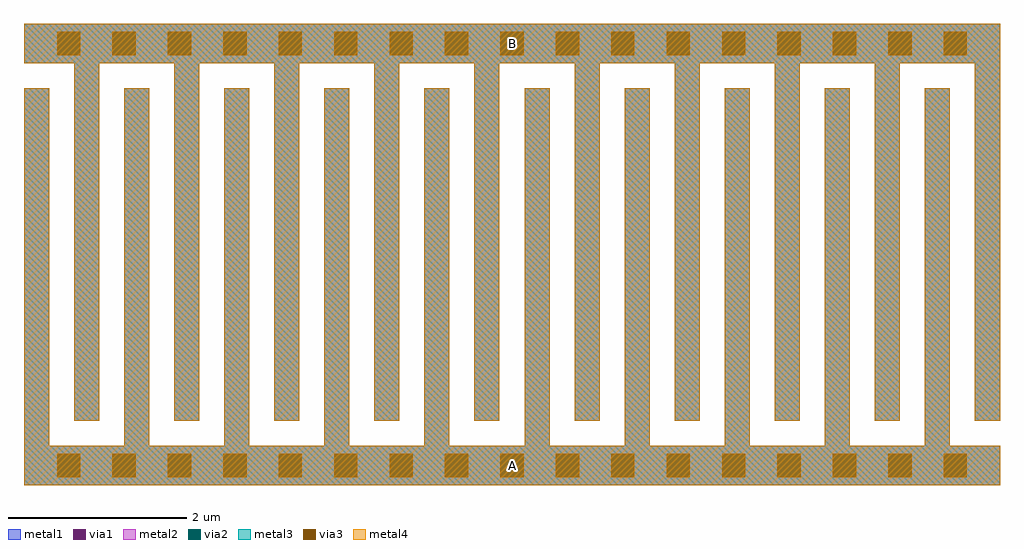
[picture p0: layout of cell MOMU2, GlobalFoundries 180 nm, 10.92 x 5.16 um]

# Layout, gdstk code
import gdstk
lib = gdstk.Library(unit=1e-6, precision=1e-09)
def R(c, l, rs):  # rectangles x0, y0, x1, y1
    for r in rs: c.add(gdstk.rectangle(r[:2], r[2:], *l))
def A(c, l, x, y, w, h, nx, ny, dx, dy):  # array of equal rectangles
    R(c, l, [(x+i*dx, y+j*dy, x+i*dx+w, y+j*dy+h) for i in range(nx) for j in range(ny)])
metal1 = (34, 0)
via1 = (35, 0)
metal2 = (36, 0)
via2 = (38, 0)
via3 = (40, 0)
metal3 = (42, 0)
metal4 = (46, 0)

momu2 = lib.new_cell('MOMU2')
A(momu2, metal1, 0, 0.44, 0.28, 4, 10, 1, 1.12, 0)
A(momu2, metal1, 0.56, 0.72, 0.28, 4, 10, 1, 1.12, 0)
R(momu2, metal1, [(0,0,10.92,0.44), (0,4.72,10.92,5.16)])
A(momu2, via1, 0.37, 0.09, 0.26, 0.26, 17, 2, 0.62, 4.72)
A(momu2, metal2, 0, 0.44, 0.28, 4, 10, 1, 1.12, 0)
A(momu2, metal2, 0.56, 0.72, 0.28, 4, 10, 1, 1.12, 0)
R(momu2, metal2, [(0,0,10.92,0.44), (0,4.72,10.92,5.16)])
A(momu2, via2, 0.37, 0.09, 0.26, 0.26, 17, 2, 0.62, 4.72)
A(momu2, via3, 0.37, 0.09, 0.26, 0.26, 17, 2, 0.62, 4.72)
A(momu2, metal3, 0, 0.44, 0.28, 4, 10, 1, 1.12, 0)
A(momu2, metal3, 0.56, 0.72, 0.28, 4, 10, 1, 1.12, 0)
R(momu2, metal3, [(0,0,10.92,0.44), (0,4.72,10.92,5.16)])
A(momu2, metal4, 0, 0.44, 0.28, 4, 10, 1, 1.12, 0)
A(momu2, metal4, 0.56, 0.72, 0.28, 4, 10, 1, 1.12, 0)
R(momu2, metal4, [(0,0,10.92,0.44), (0,4.72,10.92,5.16)])
momu2.add(gdstk.Label('A', (5.46,0.22), layer=34, texttype=10))
momu2.add(gdstk.Label('B', (5.46,4.94), layer=34, texttype=10))
momu2.add(gdstk.Label('A', (5.46,0.22), layer=36, texttype=10))
momu2.add(gdstk.Label('B', (5.46,4.94), layer=36, texttype=10))
momu2.add(gdstk.Label('A', (5.46,0.22), layer=42, texttype=10))
momu2.add(gdstk.Label('B', (5.46,4.94), layer=42, texttype=10))
momu2.add(gdstk.Label('A', (5.46,0.22), layer=46, texttype=10))
momu2.add(gdstk.Label('B', (5.46,4.94), layer=46, texttype=10))

lib.write_gds('MOMU2.gds')
